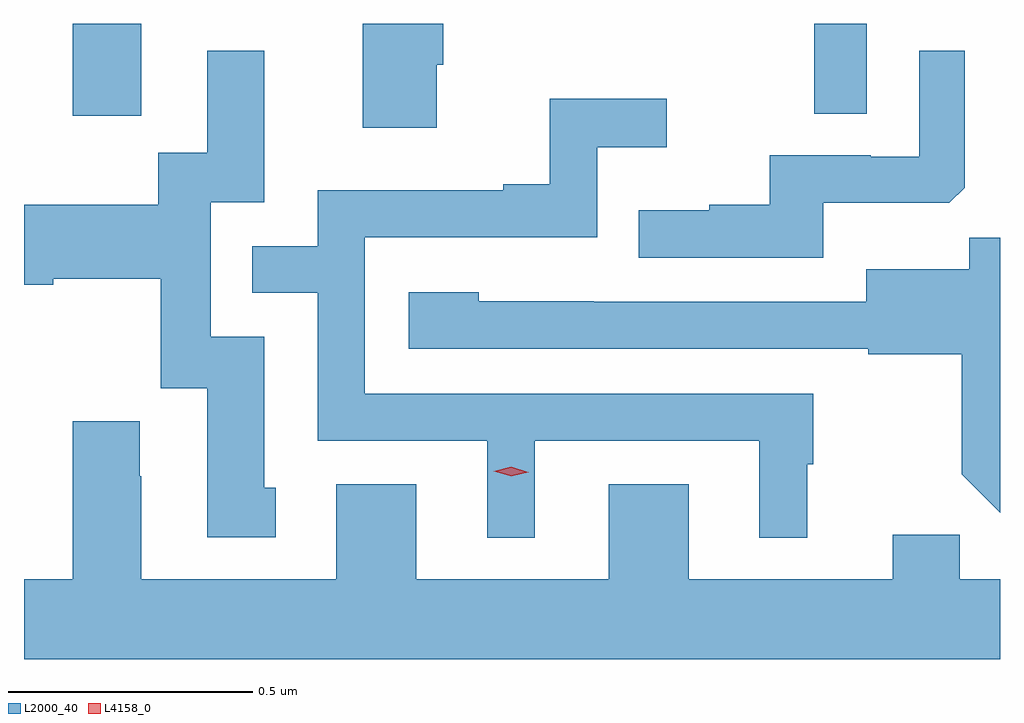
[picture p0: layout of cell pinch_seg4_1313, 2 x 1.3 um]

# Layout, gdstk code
import gdstk
lib = gdstk.Library(unit=1e-6, precision=1e-09)
def R(c, l, rs):  # rectangles x0, y0, x1, y1
    for r in rs: c.add(gdstk.rectangle(r[:2], r[2:], *l))
def P(c, l, *ps):  # polygons
    for p in ps: c.add(gdstk.Polygon(p, *l))
L2000_40 = (2000, 40)
L4158_0 = (4158, 0)

pinch_seg4_1313 = lib.new_cell('pinch_seg4_1313')
R(pinch_seg4_1313, L2000_40, [(342.641,776.622,342.781,776.811), (344.16,776.626,344.268,776.811)])
P(pinch_seg4_1313, L2000_40, [(343.387,776.727),(343.4,776.727),(343.4,776.811),(343.235,776.811),(343.235,776.598),(343.387,776.598)],
  [(344.179,776.444),(344.437,776.444),(344.469,776.475),(344.469,776.755),(344.376,776.755),(344.376,776.538),(344.276,776.538),(344.276,776.541),(344.069,776.541),(344.069,776.44),(343.945,776.44),(343.945,776.428),(343.801,776.428),(343.801,776.331),(344.179,776.331)],
  [(343.057,775.86),(343.033,775.86),(343.033,776.169),(342.924,776.169),(342.924,776.445),(343.033,776.445),(343.033,776.755),(342.917,776.755),(342.917,776.546),(342.816,776.546),(342.816,776.44),(342.541,776.44),(342.541,776.276),(342.601,776.276),(342.601,776.288),(342.821,776.288),(342.821,776.064),(342.917,776.064),(342.917,775.758),(343.057,775.758)],
  [(343.588,775.956),(344.048,775.956),(344.048,775.757),(344.146,775.757),(344.146,775.908),(344.158,775.908),(344.158,776.052),(343.239,776.052),(343.239,776.373),(343.716,776.373),(343.716,776.558),(343.858,776.558),(343.858,776.657),(343.618,776.657),(343.618,776.482),(343.523,776.482),(343.523,776.469),(343.143,776.469),(343.143,776.355),(343.009,776.355),(343.009,776.259),(343.143,776.259),(343.143,775.956),(343.49,775.956),(343.49,775.757),(343.588,775.757)],
  [(344.541,776.372),(344.478,776.372),(344.478,776.308),(344.267,776.308),(344.267,776.241),(343.709,776.241),(343.709,776.242),(343.473,776.242),(343.473,776.26),(343.329,776.26),(343.329,776.145),(344.271,776.145),(344.271,776.133),(344.463,776.133),(344.463,775.887),(344.541,775.809)],
  [(344.541,775.672),(344.459,775.672),(344.459,775.763),(344.321,775.763),(344.321,775.672),(343.903,775.672),(343.903,775.867),(343.739,775.867),(343.739,775.672),(343.345,775.672),(343.345,775.867),(343.181,775.867),(343.181,775.672),(342.781,775.672),(342.781,775.883),(342.778,775.883),(342.778,775.996),(342.641,775.996),(342.641,775.672),(342.541,775.672),(342.541,775.508),(344.541,775.508)])
P(pinch_seg4_1313, L4158_0, [(343.539,775.883),(343.504,775.894),(343.503,775.894),(343.504,775.894),(343.539,775.903),(343.574,775.892),(343.575,775.892),(343.574,775.892)])

lib.write_gds('pinch_seg4_1313.gds')
